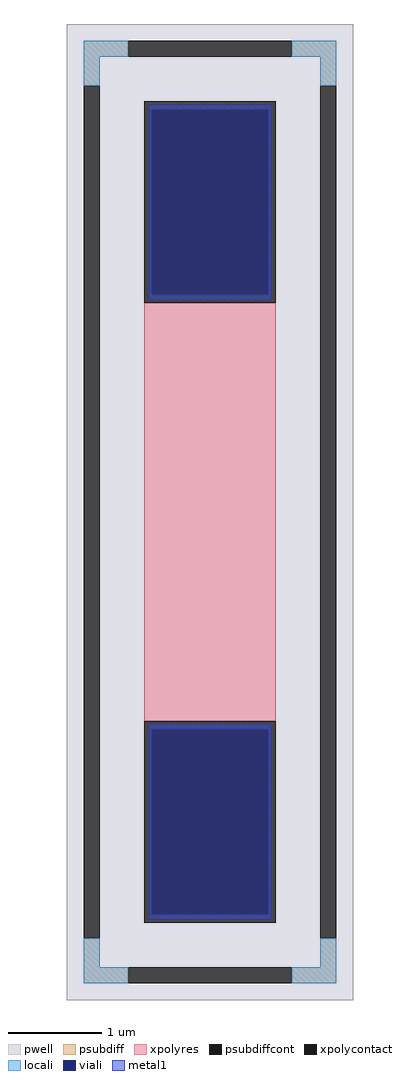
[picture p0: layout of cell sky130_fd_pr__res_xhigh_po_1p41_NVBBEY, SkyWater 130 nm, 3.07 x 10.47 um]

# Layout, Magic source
magic
tech sky130A
magscale 1 2
<< pwell >>
rect -307 -1047 307 1047
<< psubdiff >>
rect -271 977 -175 1011
rect 175 977 271 1011
rect -271 915 -237 977
rect 237 915 271 977
rect -271 -977 -237 -915
rect 237 -977 271 -915
rect -271 -1011 -175 -977
rect 175 -1011 271 -977
<< psubdiffcont >>
rect -175 977 175 1011
rect -271 -915 -237 915
rect 237 -915 271 915
rect -175 -1011 175 -977
<< xpolycontact >>
rect -141 449 141 881
rect -141 -881 141 -449
<< xpolyres >>
rect -141 -449 141 449
<< locali >>
rect -271 977 -175 1011
rect 175 977 271 1011
rect -271 915 -237 977
rect 237 915 271 977
rect -271 -977 -237 -915
rect 237 -977 271 -915
rect -271 -1011 -175 -977
rect 175 -1011 271 -977
<< viali >>
rect -125 466 125 863
rect -125 -863 125 -466
<< metal1 >>
rect -131 863 131 875
rect -131 466 -125 863
rect 125 466 131 863
rect -131 454 131 466
rect -131 -466 131 -454
rect -131 -863 -125 -466
rect 125 -863 131 -466
rect -131 -875 131 -863
<< properties >>
string FIXED_BBOX -254 -994 254 994
string gencell sky130_fd_pr__res_xhigh_po_1p41
string library sky130
string parameters w 1.410 l 4.654 m 1 nx 1 wmin 1.410 lmin 0.50 rho 2000 val 6.868k dummy 0 dw 0.0 term 188.2 sterm 0.0 caplen 0 wmax 1.410 guard 1 glc 1 grc 1 gtc 1 gbc 1 compatible {sky130_fd_pr__res_xhigh_po_0p35  sky130_fd_pr__res_xhigh_po_0p69 sky130_fd_pr__res_xhigh_po_1p41  sky130_fd_pr__res_xhigh_po_2p85 sky130_fd_pr__res_xhigh_po_5p73} snake 0 full_metal 1 n_guard 0 hv_guard 0 vias 1 viagb 0 viagt 0 viagl 0 viagr 0
<< end >>
